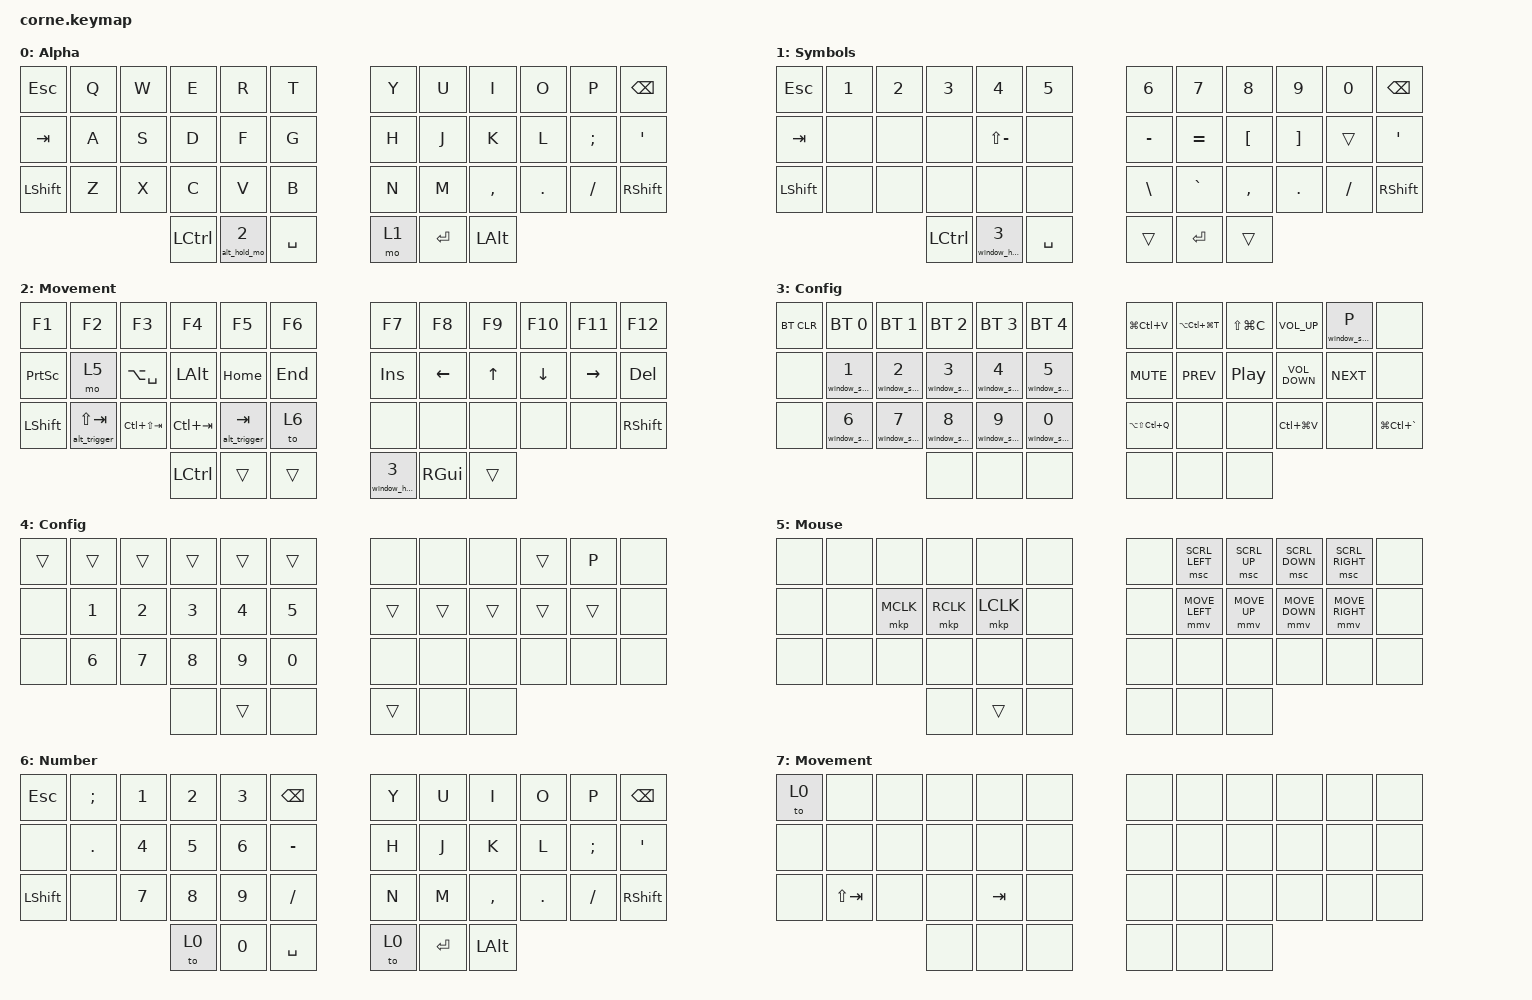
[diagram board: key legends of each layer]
/*
 * Copyright (c) 2020 The ZMK Contributors
 *
 * SPDX-License-Identifier: MIT
 */

#define ZMK_POINTING_DEFAULT_MOVE_VAL 1800
#define ZMK_POINTING_DEFAULT_SCRL_VAL 25

#include <behaviors.dtsi>
#include <dt-bindings/zmk/bt.h>
#include <dt-bindings/zmk/keys.h>
#include <dt-bindings/zmk/pointing.h>

/ {
    combos {
        compatible = "zmk,combos";

        capslock {
            bindings = <&kp CAPSLOCK>;
            key-positions = <24 35>;
            layers = <0>;
        };
    };

    macros {
        window_hold_mo: custom_mo_3 {
            compatible = "zmk,behavior-macro-one-param";
            #binding-cells = <1>;
            bindings =
                <&macro_param_1to1>,
                <&macro_press>,
                <&mo MACRO_PLACEHOLDER &macro_param_1to1>,
                <&macro_pause_for_release>,
                <&macro_release>,
                <&mo MACRO_PLACEHOLDER &kp RGUI &mo 4>;

            label = "CUSTOM_MO_3";
        };

        window_switch_trigger: window_switch_1 {
            compatible = "zmk,behavior-macro-one-param";
            #binding-cells = <1>;
            bindings =
                <&macro_press>,
                <&kp RGUI &macro_param_1to1>,
                <&macro_tap>,
                <&kp MACRO_PLACEHOLDER>,
                <&macro_press>,
                <&mo 4>;

            label = "WINDOW_SWITCH_1";
        };

        alt_hold_mo: alt_hold_mo {
            compatible = "zmk,behavior-macro-one-param";
            #binding-cells = <1>;
            bindings =
                <&macro_param_1to1>,
                <&macro_press>,
                <&mo MACRO_PLACEHOLDER &macro_param_1to1>,
                <&macro_pause_for_release>,
                <&macro_release>,
                <&mo MACRO_PLACEHOLDER &kp RIGHT_ALT &mo 7>;

            label = "ALT_HOLD_MO";
        };

        alt_trigger: alt_trigger {
            compatible = "zmk,behavior-macro-one-param";
            #binding-cells = <1>;
            bindings =
                <&macro_press>,
                <&kp RIGHT_ALT &macro_param_1to1>,
                <&macro_tap>,
                <&kp MACRO_PLACEHOLDER>,
                <&macro_press>,
                <&mo 7>;

            label = "ALT_TRIGGER";
        };
    };

    keymap {
        compatible = "zmk,keymap";

        default_layer {
            // -----------------------------------------------------------------------------------------
            // |  TAB |  Q  |  W  |  E  |  R  |  T  |   |  Y  |  U   |  I  |  O  |  P  | BKSP |
            // | CTRL |  A  |  S  |  D  |  F  |  G  |   |  H  |  J   |  K  |  L  |  ;  |  '   |
            // | SHFT |  Z  |  X  |  C  |  V  |  B  |   |  N  |  M   |  ,  |  .  |  /  | ESC  |
            //                    | GUI | LWR | SPC |   | ENT | RSE  | ALT |

            display-name = "Alpha";
            bindings = <
&kp ESC    &kp Q  &kp W  &kp E      &kp R           &kp T        &kp Y  &kp U      &kp I         &kp O    &kp P     &kp BSPC
&kp TAB    &kp A  &kp S  &kp D      &kp F           &kp G        &kp H  &kp J      &kp K         &kp L    &kp SEMI  &kp SQT
&kp LSHFT  &kp Z  &kp X  &kp C      &kp V           &kp B        &kp N  &kp M      &kp COMMA     &kp DOT  &kp FSLH  &kp RIGHT_SHIFT
                         &kp LCTRL  &alt_hold_mo 2  &kp SPACE    &mo 1  &kp ENTER  &kp LEFT_ALT
            >;

            label = "Alpha";
        };

        lower_layer {
            // -----------------------------------------------------------------------------------------
            // |  TAB |  1  |  2  |  3  |  4  |  5  |   |  6  |  7  |  8  |  9  |  0  | BKSP |
            // | BTCLR| BT1 | BT2 | BT3 | BT4 | BT5 |   | LFT | DWN |  UP | RGT |     |      |
            // | SHFT |     |     |     |     |     |   |     |     |     |     |     |      |
            //                    | GUI |     | SPC |   | ENT |     | ALT |

            display-name = "Symbols";
            bindings = <
&kp ESC    &kp N1  &kp N2  &kp N3     &kp N4             &kp N5       &kp N6     &kp N7     &kp N8            &kp N9             &kp N0    &kp BSPC
&kp TAB    &none   &none   &none      &kp LS(MINUS)      &none        &kp MINUS  &kp EQUAL  &kp LEFT_BRACKET  &kp RIGHT_BRACKET  &trans    &kp SQT
&kp LSHFT  &none   &none   &none      &none              &none        &kp BSLH   &kp GRAVE  &kp COMMA         &kp DOT            &kp FSLH  &kp RSHFT
                           &kp LCTRL  &window_hold_mo 3  &kp SPACE    &trans     &kp ENTER  &trans
            >;
        };

        raise_layer {
            // -----------------------------------------------------------------------------------------
            // |  TAB |  !  |  @  |  #  |  $  |  %  |   |  ^  |  &  |  *  |  (  |  )  | BKSP |
            // | CTRL |     |     |     |     |     |   |  -  |  =  |  [  |  ]  |  \  |  `   |
            // | SHFT |     |     |     |     |     |   |  _  |  +  |  {  |  }  | "|" |  ~   |
            //                    | GUI |     | SPC |   | ENT |     | ALT |

            display-name = "Movement";
            bindings = <
&kp F1          &kp F2                &kp F3           &kp F4            &kp F5            &kp F6     &kp F7             &kp F8         &kp F9  &kp F10   &kp F11    &kp F12
&kp PSCRN       &mo 5                 &kp LA(SPACE)    &kp LALT          &kp HOME          &kp END    &kp INS            &kp LEFT       &kp UP  &kp DOWN  &kp RIGHT  &kp DEL
&kp LEFT_SHIFT  &alt_trigger LS(TAB)  &kp LC(LS(TAB))  &kp LC(TAB)       &alt_trigger TAB  &to 6      &none              &none          &none   &none     &none      &kp RSHFT
                                                       &kp LEFT_CONTROL  &trans            &trans     &window_hold_mo 3  &kp RIGHT_GUI  &trans
            >;
        };

        config_layer {
            bindings = <
&bt BT_CLR  &bt BT_SEL 0               &bt BT_SEL 1               &bt BT_SEL 2               &bt BT_SEL 3               &bt BT_SEL 4                 &kp LG(LC(V))      &kp LA(LC(LG(T)))  &kp LS(LG(C))     &kp C_VOLUME_UP    &window_switch_trigger P  &none
&none       &window_switch_trigger N1  &window_switch_trigger N2  &window_switch_trigger N3  &window_switch_trigger N4  &window_switch_trigger N5    &kp C_MUTE         &kp C_PREV         &kp C_PLAY_PAUSE  &kp C_VOLUME_DOWN  &kp C_NEXT                &none
&none       &window_switch_trigger N6  &window_switch_trigger N7  &window_switch_trigger N8  &window_switch_trigger N9  &window_switch_trigger N0    &kp LA(LS(LC(Q)))  &none              &none             &kp LC(LG(V))      &none                     &kp LG(LC(GRAVE))
                                                                  &none                      &none                      &none                        &none              &none              &none
            >;

            label = "Config";
        };

        second_config {
            label = "Config";
            bindings = <
&trans  &trans  &trans  &trans  &trans  &trans    &none   &none   &none   &trans  &kp P   &none
&none   &kp N1  &kp N2  &kp N3  &kp N4  &kp N5    &trans  &trans  &trans  &trans  &trans  &none
&none   &kp N6  &kp N7  &kp N8  &kp N9  &kp N0    &none   &none   &none   &none   &none   &none
                        &none   &trans  &none     &trans  &none   &none
            >;
        };

        cursor_layer {
            bindings = <
&none  &none  &none      &none      &none      &none    &none  &msc SCRL_LEFT  &msc SCRL_UP  &msc SCRL_DOWN  &msc SCRL_RIGHT  &none
&none  &none  &mkp MCLK  &mkp RCLK  &mkp LCLK  &none    &none  &mmv MOVE_LEFT  &mmv MOVE_UP  &mmv MOVE_DOWN  &mmv MOVE_RIGHT  &none
&none  &none  &none      &none      &none      &none    &none  &none           &none         &none           &none            &none
                         &none      &trans     &none    &none  &none           &none
            >;

            label = "Mouse";
        };

        number_layer {
            bindings = <
&kp ESC         &kp SEMI  &kp N1  &kp N2  &kp N3  &kp BSPC     &kp Y  &kp U      &kp I         &kp O    &kp P     &kp BSPC
&none           &kp DOT   &kp N4  &kp N5  &kp N6  &kp MINUS    &kp H  &kp J      &kp K         &kp L    &kp SEMI  &kp SQT
&kp LEFT_SHIFT  &none     &kp N7  &kp N8  &kp N9  &kp FSLH     &kp N  &kp M      &kp COMMA     &kp DOT  &kp FSLH  &kp RSHFT
                                  &to 0   &kp N0  &kp SPACE    &to 0  &kp ENTER  &kp LEFT_ALT
            >;

            label = "Number";
        };

        window_switch {
            bindings = <
&to 0  &none        &none  &none  &none    &none    &none  &none  &none  &none  &none  &none
&none  &none        &none  &none  &none    &none    &none  &none  &none  &none  &none  &none
&none  &kp LS(TAB)  &none  &none  &kp TAB  &none    &none  &none  &none  &none  &none  &none
                           &none  &none    &none    &none  &none  &none
            >;

            label = "Movement";
        };
    };
};
